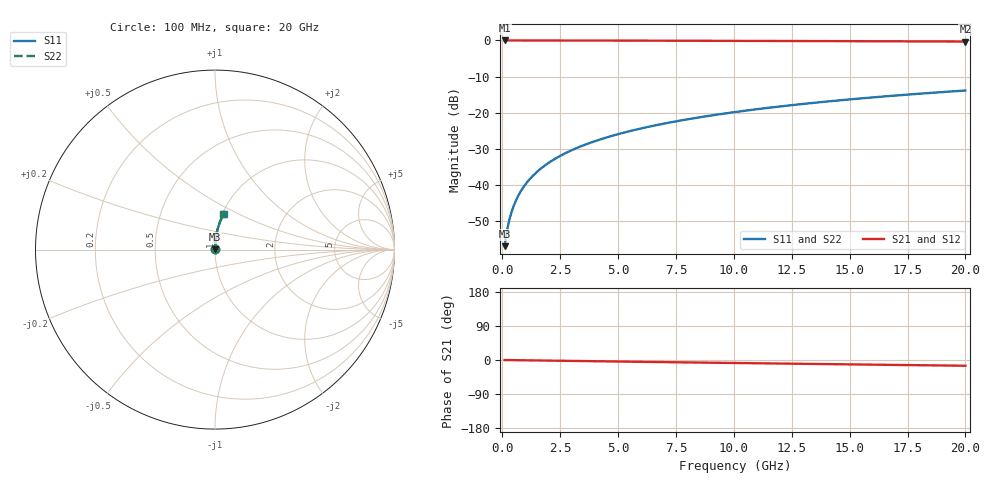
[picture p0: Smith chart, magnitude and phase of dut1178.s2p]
! Touchstone file exported from HFSS 2024.1.0
!  File:  C:/UserFiles/LocalFiles/RDL_TSV_Batchsim/temp_RDL_top_1178_1780049147.aedt
!  Generated:  06:08:02 PM May 29, 2026
!  Design:  RDL_top
!  Project:  temp_RDL_top_1178_1780049147
!  Setup:  Setup1
!  Solution:  Sweep
! Variables:
!  dtsv = 10.80580581um
!  hbump = 3um
!  htsv = 84.55um
!  ldown = 100um
!  lrdl = 151.77um
!  p = 40
!  p1 = 54.31um
!  rhole = 1um
!  t = 450um
!  tdown = 3.915915916um
!  trdl = 5um
!  wdown = 15.38538539um
!  wrdl = 12.63um
# GHz S MA R 50.000000
! Terminal data exported
! Port[1] = Box2_T1
! Port[2] = Box2_T2
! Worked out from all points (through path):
!   200 points, 100 MHz to 20 GHz, reference 50 ohm
!   highest |S21| = -0.01 dB at 100 MHz (marker M1); lowest = -0.3 dB at 20 GHz (marker M2)
!   group delay of S21, straight-line fit = 2.1 ps
!   lowest |S11| = -57.0 dB at 100 MHz (marker M3), VSWR 1.00, Z = 50.1 + j0.104 ohm
!   |S11| at or under -10 dB: start of sweep to end of sweep
!   |S22| runs from -57.0 to -13.9 dB; largest |S21 - S12| = 3e-15
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0.1  0.001413 47.1  0.999 -0.1  0.999 -0.1  0.001413 47.1
! Gamma 0 0 0 0
! Port Impedance 50 0 50 0
0.2  0.002282 64.5  0.999 -0.2  0.999 -0.2  0.002282 64.5
0.3  0.003234 71.8  0.999 -0.3  0.999 -0.3  0.003234 71.8
0.4  0.004207 75.8  0.9989 -0.3  0.9989 -0.3  0.004207 75.8
0.5  0.005188 78.2  0.9989 -0.4  0.9989 -0.4  0.005188 78.2
0.7  0.007164 81.2  0.9988 -0.6  0.9988 -0.6  0.007164 81.2
0.8  0.008156 82.1  0.9988 -0.7  0.9988 -0.7  0.008156 82.1
1  0.01015 83.4  0.9987 -0.8  0.9987 -0.8  0.01015 83.4
1.2  0.01214 84.3  0.9986 -1.0  0.9986 -1.0  0.01214 84.3
1.4  0.01414 84.8  0.9985 -1.2  0.9985 -1.2  0.01414 84.8
1.7  0.01714 85.4  0.9984 -1.4  0.9984 -1.4  0.01714 85.4
2  0.02014 85.8  0.9982 -1.7  0.9982 -1.7  0.02014 85.8
2.7  0.02716 86.2  0.9976 -2.2  0.9976 -2.2  0.02716 86.2
3.5  0.0352 86.2  0.9968 -2.9  0.9968 -2.9  0.0352 86.2
4.2  0.04224 86.2  0.9959 -3.4  0.9959 -3.4  0.04224 86.2
5  0.05031 85.9  0.9949 -4.1  0.9949 -4.1  0.05031 85.9
6.8  0.06856 85.2  0.9921 -5.5  0.9921 -5.5  0.06856 85.2
8.3  0.08387 84.5  0.9896 -6.6  0.9896 -6.6  0.08388 84.5
10.1  0.1023 83.4  0.9863 -8.0  0.9863 -8.0  0.1023 83.4
13.4  0.1362 81.2  0.9798 -10.4  0.9798 -10.4  0.1362 81.2
16.7  0.1697 78.9  0.9727 -12.8  0.9727 -12.8  0.1697 78.9
20  0.2025 76.5  0.9649 -15.2  0.9649 -15.2  0.2025 76.5
